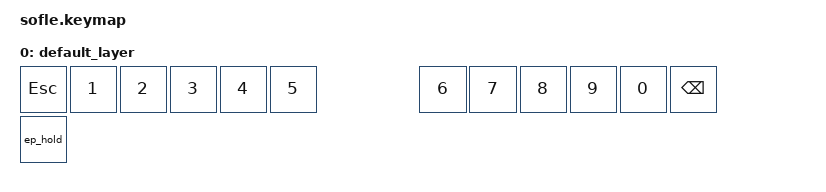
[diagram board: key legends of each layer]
#include <behaviors.dtsi>

/ {
    behaviors {
        ep_hold: behavior_gpio_hold {
            compatible = "zmk,behavior-gpio-hold";
            #binding-cells = <0>;
            control-gpios = <&gpio0 13 GPIO_ACTIVE_HIGH 
                        &gpio0 14 GPIO_ACTIVE_HIGH> ;
        };
    };
    keymap {
        compatible = "zmk,keymap";
        default_layer {

            bindings =<
                    &kp ESC   &kp N1         &kp N2        &kp N3        &kp N4               &kp N5                                        &kp N6     &kp N7               &kp N8        &kp N9        &kp N0            &kp BSPC
                    &ep_hold
            >;
        };
    };
};
